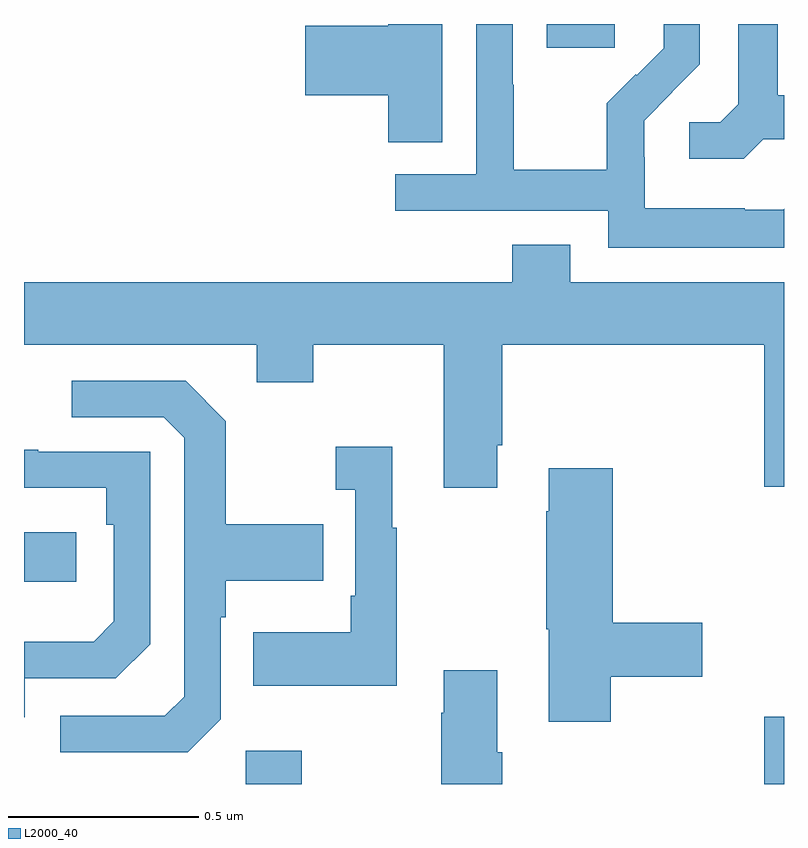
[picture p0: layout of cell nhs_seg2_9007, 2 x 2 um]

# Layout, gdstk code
import gdstk
lib = gdstk.Library(unit=1e-6, precision=1e-09)
def R(c, l, rs):  # rectangles x0, y0, x1, y1
    for r in rs: c.add(gdstk.rectangle(r[:2], r[2:], *l))
def P(c, l, *ps):  # polygons
    for p in ps: c.add(gdstk.Polygon(p, *l))
L2000_40 = (2000, 40)

nhs_seg2_9007 = lib.new_cell('nhs_seg2_9007')
R(nhs_seg2_9007, L2000_40, [(223.584,659.8,223.731,659.887), (224.948,659.8,225,659.977), (223,660.332,223.138,660.462), (224.375,661.737,224.554,661.8)])
P(nhs_seg2_9007, L2000_40, [(224.101,661.8),(223.958,661.8),(223.958,661.796),(223.74,661.796),(223.74,661.613),(223.958,661.613),(223.958,661.489),(224.101,661.489)],
  [(224.946,661.497),(225,661.497),(225,661.613),(224.983,661.613),(224.983,661.8),(224.879,661.8),(224.879,661.589),(224.832,661.542),(224.751,661.542),(224.751,661.445),(224.894,661.445)],
  [(225,661.314),(224.997,661.311),(224.897,661.311),(224.897,661.315),(224.634,661.315),(224.634,661.449),(224.632,661.449),(224.632,661.546),(224.706,661.62),(224.705,661.621),(224.778,661.694),(224.778,661.8),(224.684,661.8),(224.684,661.736),(224.613,661.665),(224.61,661.668),(224.533,661.591),(224.533,661.417),(224.289,661.417),(224.289,661.64),(224.286,661.64),(224.286,661.8),(224.19,661.8),(224.19,661.404),(223.977,661.404),(223.977,661.308),(224.538,661.308),(224.538,661.211),(225,661.211)],
  [(224.245,660.691),(224.258,660.691),(224.258,660.956),(224.948,660.956),(224.948,660.582),(225,660.582),(225,661.12),(224.437,661.12),(224.437,661.219),(224.285,661.219),(224.285,661.12),(223,661.12),(223,660.956),(223.613,660.956),(223.613,660.857),(223.761,660.857),(223.761,660.956),(224.105,660.956),(224.105,660.579),(224.245,660.579)],
  [(223.518,659.97),(223.518,660.239),(223.531,660.239),(223.531,660.335),(223.787,660.335),(223.787,660.483),(223.531,660.483),(223.531,660.755),(223.425,660.861),(223.125,660.861),(223.125,660.765),(223.368,660.765),(223.422,660.711),(223.422,660.03),(223.371,659.979),(223.095,659.979),(223.095,659.883),(223.431,659.883)],
  [(223.981,660.475),(223.969,660.475),(223.969,660.688),(223.821,660.688),(223.821,660.575),(223.872,660.575),(223.872,660.295),(223.86,660.295),(223.86,660.199),(223.603,660.199),(223.603,660.059),(223.981,660.059)],
  [(223.002,660.078),(223.242,660.078),(223.332,660.168),(223.332,660.675),(223.037,660.675),(223.037,660.68),(223,660.68),(223,660.579),(223.216,660.579),(223.216,660.482),(223.236,660.482),(223.236,660.228),(223.183,660.175),(223,660.175),(223,659.976),(223.002,659.976)],
  [(224.544,660.082),(224.785,660.082),(224.785,660.224),(224.549,660.224),(224.549,660.631),(224.381,660.631),(224.381,660.518),(224.374,660.518),(224.374,660.207),(224.381,660.207),(224.381,659.964),(224.544,659.964)],
  [(224.258,659.884),(224.245,659.884),(224.245,660.1),(224.105,660.1),(224.105,659.987),(224.098,659.987),(224.098,659.8),(224.258,659.8)])

lib.write_gds('nhs_seg2_9007.gds')
